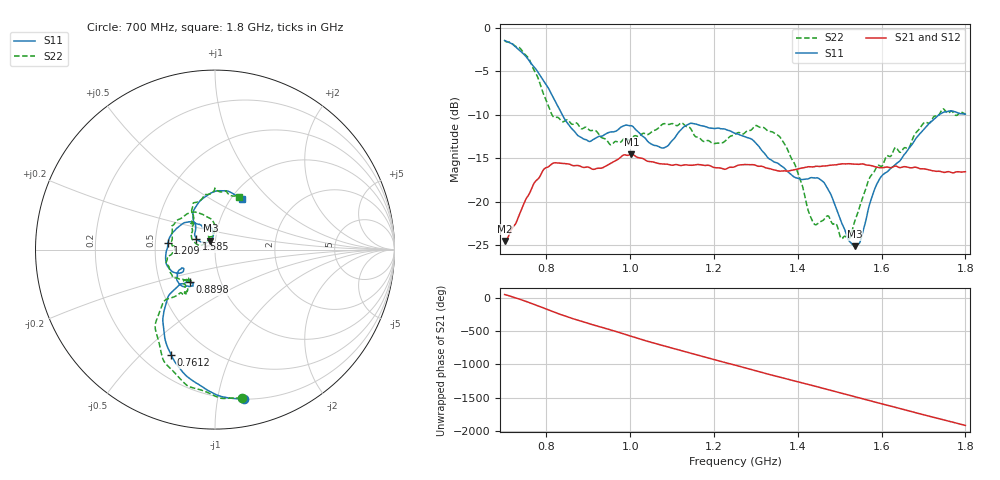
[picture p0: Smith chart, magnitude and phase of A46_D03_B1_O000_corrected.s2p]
! Created with skrf 1.9.0 (http://scikit-rf.org).
# Hz S RI R 50.0
!freq ReS11 ImS11 ReS21 ImS21 ReS12 ImS12 ReS22 ImS22
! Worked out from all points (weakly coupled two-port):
!   1601 points, 700 MHz to 1.8 GHz, reference 50 ohm
!   highest |S21| = -14.55 dB at 1.002 GHz (marker M1); lowest = -24.5 dB at 701.4 MHz (marker M2)
!   lowest |S11| = -25.1 dB at 1.535 GHz (marker M3), VSWR 1.12, Z = 47.3 + j4.67 ohm
!   |S11| at or under -10 dB: 837.9 MHz to 1.737 GHz (898.7 MHz wide, 69.8 % of centre)
!   |S22| runs from -24.3 to -1.5 dB; largest |S21 - S12| = 0.0035
!   S11 on the Smith chart (normalised r, x): 700 MHz: 0.20, -1.19; 761.2 MHz: 0.32, -0.62; 889.8 MHz: 0.71, -0.27; 1.209 GHz: 0.58, +0.04; 1.585 GHz: 0.81, +0.10; 1.8 GHz: 1.12, +0.70
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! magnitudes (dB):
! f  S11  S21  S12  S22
! 700 MHz  -1.4  -24.5  -24.3  -1.5
! 701.4 MHz  -1.5  -24.5  -24.2  -1.5
! 761.2 MHz  -3.9  -18.9  -18.8  -3.9
! 814.8 MHz  -7.9  -15.6  -15.7  -10.1
! 883.6 MHz  -12.6  -16.0  -15.9  -11.6
! 889.8 MHz  -12.8  -16.1  -16.0  -11.5
! 1.002 GHz  -11.3  -14.6  -14.7  -12.8
! 1.067 GHz  -13.6  -15.6  -15.5  -11.5
! 1.142 GHz  -11.0  -15.8  -15.8  -11.5
! 1.209 GHz  -11.5  -16.1  -16.1  -13.3
! 1.25 GHz  -12.1  -16.0  -15.9  -12.3
! 1.357 GHz  -15.7  -16.5  -16.4  -12.5
! 1.395 GHz  -17.3  -16.3  -16.3  -16.0
! 1.434 GHz  -17.2  -16.0  -16.0  -22.1
! 1.468 GHz  -18.2  -15.9  -15.9  -21.7
! 1.52 GHz  -24.3  -15.6  -15.6  -24.3
! 1.535 GHz  -25.1  -15.7  -15.7  -22.4
! 1.55 GHz  -24.4  -15.7  -15.7  -20.2
! 1.585 GHz  -18.4  -16.0  -16.0  -16.3
! 1.617 GHz  -16.4  -16.1  -16.0  -14.8
! 1.738 GHz  -10.0  -16.5  -16.6  -9.9
! 1.8 GHz  -9.9  -16.6  -16.6  -9.9
